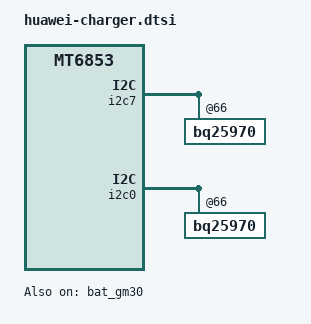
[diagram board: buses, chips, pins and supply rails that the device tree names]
#include "../huawei_charger/mt6853_ang_huawei_charger.dtsi"
&i2c7 {
	rt9426_battery@55{
		status = "disabled";
	};
	bq27z561_fg@55 {
		reg = <0x55>;
		compatible = "huawei,bq27z561";
		status = "disabled";
	};
	bq25970@65 {
		status = "disabled";
	};
	bq25970@66 {
		i2c_recovery_addr = <0x65>;
		status = "ok";
	};
};

&i2c0 {
	bq25970@65 {
		status = "disabled";
	};
	bq25970@66 {
		i2c_recovery_addr = <0x65>;
		status = "ok";
	};
};

&huawei_battery {
	use_third_coul = <0>;
};

&huawei_power_proxy  {
	status = "disabled";
};

&huawei_power_supply {
	status = "disabled";
};

&battery_core {
	status = "disabled";
};

&battery_model {
	status = "disabled";
};

&battery_ui_capacity {
	status = "disabled";
};

&bat_gm30 {
	status = "ok";
};

&multi_btb_temp {
	sensor-names =
		"mtk_batt_temp", "comp_para",
		"mtk_batt_temp", "comp_para";
};

&soc_decimal {
    ui_offset = <50>;
};
